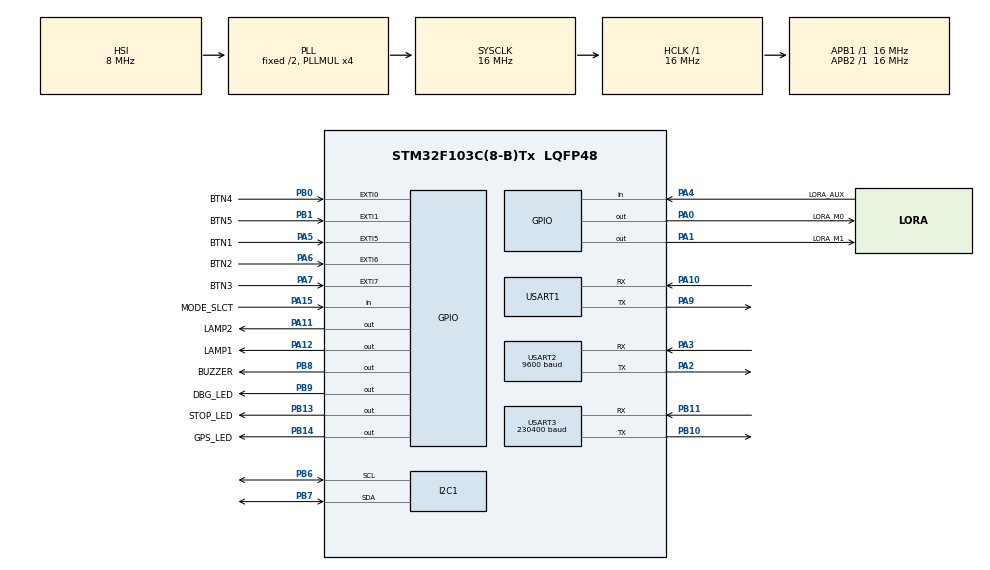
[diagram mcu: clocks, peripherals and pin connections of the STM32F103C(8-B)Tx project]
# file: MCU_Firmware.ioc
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Dma.Request0=USART3_RX
Dma.Request1=USART1_RX
Dma.USART1_RX.1.Direction=DMA_PERIPH_TO_MEMORY
Dma.USART1_RX.1.Instance=DMA1_Channel5
Dma.USART1_RX.1.MemDataAlignment=DMA_MDATAALIGN_BYTE
Dma.USART1_RX.1.MemInc=DMA_MINC_ENABLE
Dma.USART1_RX.1.Mode=DMA_CIRCULAR
Dma.USART1_RX.1.PeriphDataAlignment=DMA_PDATAALIGN_BYTE
Dma.USART1_RX.1.PeriphInc=DMA_PINC_DISABLE
Dma.USART1_RX.1.Priority=DMA_PRIORITY_LOW
Dma.USART3_RX.0.Direction=DMA_PERIPH_TO_MEMORY
Dma.USART3_RX.0.Instance=DMA1_Channel3
Dma.USART3_RX.0.MemDataAlignment=DMA_MDATAALIGN_BYTE
Dma.USART3_RX.0.MemInc=DMA_MINC_ENABLE
Dma.USART3_RX.0.Mode=DMA_CIRCULAR
Dma.USART3_RX.0.PeriphDataAlignment=DMA_PDATAALIGN_BYTE
Dma.USART3_RX.0.PeriphInc=DMA_PINC_DISABLE
Dma.USART3_RX.0.Priority=DMA_PRIORITY_LOW
Mcu.Family=STM32F1
Mcu.Name=STM32F103C(8-B)Tx
Mcu.Package=LQFP48
NVIC.DMA1_Channel3_IRQn=true\:0\:0\:false\:false\:true\:false\:true\:true
NVIC.DMA1_Channel5_IRQn=true\:0\:0\:false\:false\:true\:false\:true\:true
NVIC.EXTI0_IRQn=true\:0\:0\:false\:false\:true\:true\:true\:true
NVIC.EXTI1_IRQn=true\:0\:0\:false\:false\:true\:true\:true\:true
NVIC.EXTI9_5_IRQn=true\:0\:0\:false\:false\:true\:true\:true\:true
NVIC.PriorityGroup=NVIC_PRIORITYGROUP_4
NVIC.USART1_IRQn=true\:0\:0\:false\:false\:true\:true\:true\:true
NVIC.USART2_IRQn=true\:0\:0\:false\:false\:true\:true\:true\:true
NVIC.USART3_IRQn=true\:0\:0\:false\:false\:true\:true\:true\:true
PA0-WKUP.GPIO_Label=LORA_M0
PA0-WKUP.Signal=GPIO_Output
PA1.GPIO_Label=LORA_M1
PA1.Signal=GPIO_Output
PA10.Mode=Asynchronous
PA10.Signal=USART1_RX
PA11.GPIO_Label=LAMP2
PA11.Signal=GPIO_Output
PA12.GPIO_Label=LAMP1
PA12.Signal=GPIO_Output
PA13.Mode=Serial_Wire
PA13.Signal=SYS_JTMS-SWDIO
PA14.Mode=Serial_Wire
PA14.Signal=SYS_JTCK-SWCLK
PA15.GPIO_Label=MODE_SLCT
PA15.GPIO_PuPd=GPIO_PULLUP
PA15.Signal=GPIO_Input
PA2.Mode=Asynchronous
PA2.Signal=USART2_TX
PA3.Mode=Asynchronous
PA3.Signal=USART2_RX
PA4.GPIO_Label=LORA_AUX
PA4.Signal=GPIO_Input
PA5.GPIO_Label=BTN1
PA5.GPIO_ModeDefaultEXTI=GPIO_MODE_IT_RISING_FALLING
PA5.Signal=GPXTI5
PA6.GPIO_Label=BTN2
PA6.GPIO_ModeDefaultEXTI=GPIO_MODE_IT_RISING_FALLING
PA6.Signal=GPXTI6
PA7.GPIO_Label=BTN3
PA7.GPIO_ModeDefaultEXTI=GPIO_MODE_IT_RISING_FALLING
PA7.Signal=GPXTI7
PA9.Mode=Asynchronous
PA9.Signal=USART1_TX
PB0.GPIO_Label=BTN4
PB0.GPIO_ModeDefaultEXTI=GPIO_MODE_IT_RISING_FALLING
PB0.Signal=GPXTI0
PB1.GPIO_Label=BTN5
PB1.GPIO_ModeDefaultEXTI=GPIO_MODE_IT_RISING_FALLING
PB1.Signal=GPXTI1
PB10.Mode=Asynchronous
PB10.Signal=USART3_TX
PB11.Mode=Asynchronous
PB11.Signal=USART3_RX
PB13.GPIO_Label=STOP_LED
PB13.Signal=GPIO_Output
PB14.GPIO_Label=GPS_LED
PB14.Signal=GPIO_Output
PB6.Mode=I2C
PB6.Signal=I2C1_SCL
PB7.Mode=I2C
PB7.Signal=I2C1_SDA
PB8.GPIO_Label=BUZZER
PB8.Signal=GPIO_Output
PB9.GPIO_Label=DBG_LED
PB9.Signal=GPIO_Output
ProjectManager.HeapSize=0x200
ProjectManager.StackSize=0x400
ProjectManager.TargetToolchain=STM32CubeIDE
RCC.AHBFreq_Value=16000000
RCC.APB1Freq_Value=16000000
RCC.APB1TimFreq_Value=16000000
RCC.APB2Freq_Value=16000000
RCC.APB2TimFreq_Value=16000000
RCC.HCLKFreq_Value=16000000
RCC.PLLMUL=RCC_PLL_MUL4
RCC.SYSCLKFreq_VALUE=16000000
RCC.SYSCLKSource=RCC_SYSCLKSOURCE_PLLCLK
RCC.USBFreq_Value=16000000
USART1.VirtualMode=VM_ASYNC
USART2.BaudRate=9600
USART2.VirtualMode=VM_ASYNC
USART3.BaudRate=230400
USART3.VirtualMode=VM_ASYNC
board=custom

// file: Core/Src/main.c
/* USER CODE BEGIN Header */
/**
 ******************************************************************************
 * @file           : main.c
 * @brief          : Main program body
 ******************************************************************************
 * @attention
 *
 * Copyright (c) 2024 STMicroelectronics.
 * All rights reserved.
 *
 * This software is licensed under terms that can be found in the LICENSE file
 * in the root directory of this software component.
 * If no LICENSE file comes with this software, it is provided AS-IS.
 *
 ******************************************************************************
 */
/* USER CODE END Header */
#include "main.h"

/* USER CODE BEGIN Includes */
#include <stdio.h>
#include <string.h>
#include <stdlib.h>
#include <math.h>
#include "nmea_parse.h"
/* USER CODE END Includes */

/* USER CODE BEGIN PD */
#define DEFAULT_RF_FREQUENCY 920900000
#define EEPROM_BASE_ADDRESS 0x08080000
#define LCD_CGRAM_BASE_ADDR	0x40
#define CMD_LCD_ON_CURSOR 0x0E
#define CMD_LCD_ON 0x0C
#define CMD_LCD_CLEAR 0x01
#define CMD_LCD_CURSOR_LINE_1 0x80
#define CMD_LCD_CURSOR_LINE_2 0xC0
#define CMD_LCD_CURSOR_LEFT 0x10
#define CMD_LCD_CURSOR_RIGHT 0x14
#define LCD_ADDR (0x27 << 1)
#define LCD_PIN_RS    (1 << 0)
#define LCD_PIN_EN    (1 << 2)
#define LCD_BACKLIGHT (1 << 3)
#define LCD_DELAY_MS 5
/* USER CODE END PD */

I2C_HandleTypeDef hi2c1;

UART_HandleTypeDef huart1;
UART_HandleTypeDef huart2;
UART_HandleTypeDef huart3;
DMA_HandleTypeDef hdma_usart1_rx;
DMA_HandleTypeDef hdma_usart3_rx;

/* USER CODE BEGIN PV */
struct DataFlash {
	char busTP;
	char busNM[5];
	char busRouteno[6];
	char busStopID[8];
	char lati[16];
	char longi[16];
	uint8_t isPeople;
} data[150] = { 0 };

int nowIdx = 0;

uint8_t GPSLEDFlag = 0;

uint8_t NowBusStopFlag = 0;

uint8_t upDownFlag = 0;

/* USER CODE BEGIN PV */
#define RxBuffer_SIZE 512  //configure uart receive buffer size
#define DataBuffer_SIZE 512 //gather a few rxBuffer frames before parsing

// Functions for UART receiving, based on the DMA receive function, implementations may vary
uint16_t oldPos = 0;
uint16_t newPos = 0;
uint8_t RxBuffer[RxBuffer_SIZE];
uint8_t DataBuffer[DataBuffer_SIZE];

//create a GPS data structure
GPS myData;

uint16_t GPSRange = 0;
/* USER CODE END PV */

void SystemClock_Config(void);
static void MX_GPIO_Init(void);
static void MX_DMA_Init(void);
static void MX_I2C1_Init(void);
static void MX_USART1_UART_Init(void);
static void MX_USART2_UART_Init(void);
static void MX_USART3_UART_Init(void);

/* USER CODE BEGIN 0 */

void HAL_UARTEx_RxEventCallback(UART_HandleTypeDef *huart, uint16_t Size) {
	oldPos = newPos; //keep track of the last position in the buffer
	if (oldPos + Size > DataBuffer_SIZE) { //if the buffer is full, parse it, then reset the buffer

		uint16_t datatocopy = DataBuffer_SIZE - oldPos; // find out how much space is left in the main buffer
		memcpy((uint8_t*) DataBuffer + oldPos, RxBuffer, datatocopy); // copy data in that remaining space

		oldPos = 0;  // point to the start of the buffer
		memcpy((uint8_t*) DataBuffer, (uint8_t*) RxBuffer + datatocopy,
				(Size - datatocopy));  // copy the remaining data
		newPos = (Size - datatocopy);  // update the position
	} else {
		memcpy((uint8_t*) DataBuffer + oldPos, RxBuffer, Size); //copy received data to the buffer
		newPos = Size + oldPos; //update buffer position

	}
	HAL_UARTEx_ReceiveToIdle_DMA(&huart3, (uint8_t*) RxBuffer, RxBuffer_SIZE); //re-enable the DMA interrupt
	__HAL_DMA_DISABLE_IT(&hdma_usart3_rx, DMA_IT_HT); //disable the half transfer interrupt
}

//LCD ============================================
HAL_StatusTypeDef LCD_SendInternal(uint8_t lcd_addr, uint8_t data,
		uint8_t flags) {
	HAL_StatusTypeDef res;
	for (;;) {
		res = HAL_I2C_IsDeviceReady(&hi2c1, lcd_addr, 1, HAL_MAX_DELAY);
		if (res == HAL_OK)
			break;
	}

	uint8_t up = data & 0xF0;
	uint8_t lo = (data << 4) & 0xF0;

	uint8_t data_arr[4];
	data_arr[0] = up | flags | LCD_BACKLIGHT | LCD_PIN_EN;
	data_arr[1] = up | flags | LCD_BACKLIGHT;
	data_arr[2] = lo | flags | LCD_BACKLIGHT | LCD_PIN_EN;
	data_arr[3] = lo | flags | LCD_BACKLIGHT;

	res = HAL_I2C_Master_Transmit(&hi2c1, lcd_addr, data_arr, sizeof(data_arr),
	HAL_MAX_DELAY);
	HAL_Delay(LCD_DELAY_MS);
	return res;
}

void LCD_SendCommand(uint8_t lcd_addr, uint8_t cmd) {
	LCD_SendInternal(lcd_addr, cmd, 0);
}

void LCD_SendData(uint8_t lcd_addr, uint8_t data) {
	LCD_SendInternal(lcd_addr, data, LCD_PIN_RS);
}

void LCD_Init(uint8_t lcd_addr) {
	// 4-bit mode, 2 lines, 5x7 format
	LCD_SendCommand(lcd_addr, 0x30);
	// display & cursor home (keep this!)
	LCD_SendCommand(lcd_addr, 0x02);
	// display on, right shift, underline off, blink off
	LCD_SendCommand(lcd_addr, CMD_LCD_ON);
	// clear display (optional here)
	LCD_SendCommand(lcd_addr, CMD_LCD_CLEAR);
}

void LCD_SendString(uint8_t lcd_addr, char *str) {
	while (*str) {
		LCD_SendData(lcd_addr, (uint8_t) (*str));
		str++;
	}
}

void LCD_SET_CGRAM(uint8_t lcd_addr, uint8_t addr, uint8_t *data) {
	uint8_t start_addr = LCD_CGRAM_BASE_ADDR | (addr << 3);
	LCD_SendCommand(lcd_addr, start_addr);
	for (int i = 0; i < 8; i++) {
		LCD_SendData(lcd_addr, data[i]);
	}
}

void LCD_Write_Info(struct DataFlash nowData, struct DataFlash nextData) {
	LCD_SendCommand(LCD_ADDR, CMD_LCD_CLEAR); //Clear
	LCD_SendCommand(LCD_ADDR, CMD_LCD_CURSOR_LINE_1);
	LCD_SendString(LCD_ADDR, nowData.busRouteno);
	LCD_SendData(LCD_ADDR, 0);
	for (int i = 0; i < 10; i++) {
		LCD_SendCommand(LCD_ADDR, CMD_LCD_CURSOR_RIGHT);
	}
	//printf("flag = %d\r\n", upDownFlag);
	if (!upDownFlag)
		LCD_SendData(LCD_ADDR, 1);
	else
		LCD_SendData(LCD_ADDR, 2);
	LCD_SendCommand(LCD_ADDR, CMD_LCD_CURSOR_LINE_2);
	LCD_SendData(LCD_ADDR, 3);
	LCD_SendString(LCD_ADDR, nowData.busStopID);
	LCD_SendData(LCD_ADDR, 3);
	LCD_SendData(LCD_ADDR, 3);
	LCD_SendData(LCD_ADDR, 3);
	LCD_SendString(LCD_ADDR, nextData.busStopID);
	for (int i = 0; i < 1; i++) {
		LCD_SendCommand(LCD_ADDR, CMD_LCD_CURSOR_RIGHT);
	}
	if (!upDownFlag)
		LCD_SendData(LCD_ADDR, 1);
	else
		LCD_SendData(LCD_ADDR, 2);
}

void updateLCD() {
	LCD_Write_Info(data[nowIdx], data[nowIdx + 1]);
}

void notGPSLCD() {
	LCD_SendCommand(LCD_ADDR, CMD_LCD_CLEAR); //Clear
	LCD_SendCommand(LCD_ADDR, CMD_LCD_CURSOR_LINE_1);
	LCD_SendString(LCD_ADDR, data[0].busRouteno);
	LCD_SendData(LCD_ADDR, 0);
	for (int i = 0; i < 11; i++) {
		LCD_SendCommand(LCD_ADDR, CMD_LCD_CURSOR_RIGHT);
	}
	LCD_SendData(LCD_ADDR, 1);
	LCD_SendCommand(LCD_ADDR, CMD_LCD_CURSOR_LINE_2);
	LCD_SendData(LCD_ADDR, 3);
	LCD_SendString(LCD_ADDR, "-----");
	LCD_SendData(LCD_ADDR, 3);
	LCD_SendData(LCD_ADDR, 3);
	LCD_SendData(LCD_ADDR, 3);
	LCD_SendString(LCD_ADDR, "-----");
	for (int i = 0; i < 1; i++) {
		LCD_SendCommand(LCD_ADDR, CMD_LCD_CURSOR_RIGHT);
	}
	LCD_SendData(LCD_ADDR, 1);
}

void LCD_Write_Arrive(struct DataFlash nowData) {
	LCD_SendCommand(LCD_ADDR, CMD_LCD_CLEAR); //Clear
	LCD_SendCommand(LCD_ADDR, CMD_LCD_CURSOR_LINE_1);
	LCD_SendString(LCD_ADDR, nowData.busRouteno);
	LCD_SendData(LCD_ADDR, 0);
	for (int i = 0; i < 11; i++) {
		LCD_SendCommand(LCD_ADDR, CMD_LCD_CURSOR_RIGHT);
	}
	LCD_SendData(LCD_ADDR, 1);
	LCD_SendCommand(LCD_ADDR, CMD_LCD_CURSOR_LINE_2);
	LCD_SendData(LCD_ADDR, 3);
	LCD_SendData(LCD_ADDR, 3);
	LCD_SendData(LCD_ADDR, 3);
	LCD_SendString(LCD_ADDR, nowData.busStopID);
	LCD_SendData(LCD_ADDR, 4);
	LCD_SendData(LCD_ADDR, 4);
	LCD_SendData(LCD_ADDR, 4);
	for (int i = 0; i < 4; i++) {
		LCD_SendCommand(LCD_ADDR, CMD_LCD_CURSOR_RIGHT);
	}
	LCD_SendData(LCD_ADDR, 1);
}

//Flash===========================================================

int dataIdx = 0;

void Flash_Unlock(void) {
	FLASH->KEYR = 0x45670123;  // Key1
	FLASH->KEYR = 0xCDEF89AB;  // Key2
}

void Flash_Lock(void) {
	FLASH->CR |= FLASH_CR_LOCK;
}

void Flash_Write(uint32_t address, uint8_t data) {
	while (FLASH->SR & FLASH_SR_BSY)
		;  // Busy flag 체크

	FLASH->CR |= FLASH_CR_PG;  // Programming mode

	*(__IO uint16_t*) address = data;  // data 기록

	while (FLASH->SR & FLASH_SR_BSY)
		;  // Busy flag 체크

	FLASH->CR &= ~FLASH_CR_PG;  // Programming mode
}

void Flash_Write_StrInt(uint32_t address, uint8_t *StrData) {
	Flash_Unlock();  // flash ?��?�� �??��
	uint16_t value = (uint16_t) strtol((const char*) StrData, NULL, 10);
	Flash_Write(address, value);  // value �? address?�� ?���?
	Flash_Lock();  // flash ?��?�� ?��?��
}

uint32_t Flash_Write_Char(uint32_t address, uint8_t CharData) {
	Flash_Unlock();
	Flash_Write(address, CharData);
	Flash_Lock();
	return address + 0x02;
}

uint32_t Flash_Write_Str(uint32_t address, uint8_t *StrData) {
	for (int i = 0; i < strlen((char*) StrData); i++) {
		address = Flash_Write_Char(address, StrData[i]);
	}
	//printf("%x\r\n", address);
	return address;
}

uint32_t Flash_Write_Data(uint32_t address, uint8_t *StrData) {
	char *token;

	token = strtok(StrData, ",");
	if (token[0] == 'D') {
		token = strtok(NULL, ",");
		if (token != NULL) {
			data[dataIdx].busTP = token[0];
			address = Flash_Write_Char(address, data[dataIdx].busTP);
			address = Flash_Write_Char(address, ',');
		}

		token = strtok(NULL, ",");
		if (token != NULL) {
			strncpy(data[dataIdx].busNM, token,
					sizeof(data[dataIdx].busNM) - 1);
			data[dataIdx].busNM[sizeof(data[dataIdx].busNM) - 1] = '\0';
			address = Flash_Write_Str(address, data[dataIdx].busNM);
			address = Flash_Write_Char(address, ',');
		}

		token = strtok(NULL, ",");
		if (token != NULL) {
			strncpy(data[dataIdx].busRouteno, token,
					sizeof(data[dataIdx].busRouteno) - 1);
			data[dataIdx].busRouteno[sizeof(data[dataIdx].busRouteno) - 1] =
					'\0';
			address = Flash_Write_Str(address, data[dataIdx].busRouteno);
			address = Flash_Write_Char(address, ',');
		}

		token = strtok(NULL, ",");
		if (token != NULL) {
			strncpy(data[dataIdx].busStopID, token,
					sizeof(data[dataIdx].busStopID) - 1);
			data[dataIdx].busStopID[sizeof(data[dataIdx].busStopID) - 1] = '\0';
			address = Flash_Write_Str(address, data[dataIdx].busStopID);
			address = Flash_Write_Char(address, ',');
		}
	} else {
		token = strtok(NULL, ",");
		if (token != NULL) {
			strncpy(data[dataIdx].lati, token, sizeof(data[dataIdx].lati) - 1);
			data[dataIdx].lati[sizeof(data[dataIdx].lati) - 1] = '\0';
			address = Flash_Write_Str(address, data[dataIdx].lati);
			address = Flash_Write_Char(address, ',');
		}

		token = strtok(NULL, ",");
		if (token != NULL) {
			strncpy(data[dataIdx].longi, token,
					sizeof(data[dataIdx].longi) - 1);
			data[dataIdx].longi[sizeof(data[dataIdx].longi) - 1] = '\0';
			address = Flash_Write_Str(address, data[dataIdx].longi);
			address = Flash_Write_Char(address, '!');
		}
		dataIdx += 1;
		if (dataIdx == 2) {
//			LCD_SendCommand(LCD_ADDR, CMD_LCD_CLEAR); //Clear
//			LCD_SendCommand(LCD_ADDR, CMD_LCD_CURSOR_LINE_1);
//			LCD_SendString(LCD_ADDR, "DATA DOWNLOAD");
//			LCD_SendCommand(LCD_ADDR, CMD_LCD_CURSOR_LINE_2);
//			LCD_SendString(LCD_ADDR, "SUCCESS");
		}
	}
//	printf("busNM:%s, busRouteNo:%s, BusStopID:%s, lati:%s, longi:%s\r\n",
//			data.busNM, data.busRouteno, data.busStopID, data.lati, data.longi);
	return address;
}

uint16_t Flash_Read(uint32_t address) {
	return *(__IO uint16_t*) address; // address data return
}

void Flash_Erase_Page(uint32_t address) {
	Flash_Unlock();  // flash ?��?�� �??��

	FLASH->CR |= FLASH_CR_PER;   // Page Erase bit set
	FLASH->AR = address;         // Page Erase address
	FLASH->CR |= FLASH_CR_STRT;

	while (FLASH->SR & FLASH_SR_BSY)
		;  // page Erase end

	FLASH->CR &= ~FLASH_CR_PER;  // Page Erase bit reset

	Flash_Lock();  // flash ?��?�� ?��?��
}

void splitData(char *strData) {
	char *token;

	token = strtok(strData, ","); // TP
	data[dataIdx].busTP = token[0];

	token = strtok(NULL, ","); // CarNM
	strncpy(data[dataIdx].busNM, token, sizeof(data[dataIdx].busNM) - 1);

	token = strtok(NULL, ","); // RouteNo
	strncpy(data[dataIdx].busRouteno, token,
			sizeof(data[dataIdx].busRouteno) - 1);

	token = strtok(NULL, ","); // StopID
	strncpy(data[dataIdx].busStopID, token,
			5);

	token = strtok(NULL, ","); // lati
	strncpy(data[dataIdx].lati, token, sizeof(data[dataIdx].lati) - 1);

	token = strtok(NULL, "!"); // longi
	strncpy(data[dataIdx].longi, token, sizeof(data[dataIdx].longi) - 1);
}

uint32_t CallData(uint32_t address) {
	char a[70] = { 0, };
	int i = 0;
	while (1) {
		a[i] = (char) Flash_Read(address);
		address += 0x02;
		if (a[i] == 0xFF) {
			return address;
		}
		if (a[i] == '!') {
			splitData(a);
			dataIdx += 1;
			i = -1;
			memset(a, 0, 60);
		}
		i += 1;
	}
}

void Flash_Clear() {
	Flash_Erase_Page(0x0800CC00);
	Flash_Erase_Page(0x0800D000);
	Flash_Erase_Page(0x0800D400);
	Flash_Erase_Page(0x0800D800);
	Flash_Erase_Page(0x0800DC00);
	Flash_Erase_Page(0x0800E000);
	Flash_Erase_Page(0x0800E400);
	Flash_Erase_Page(0x0800E800);
	Flash_Erase_Page(0x0800EC00);
	Flash_Erase_Page(0x0800F000);
	Flash_Erase_Page(0x0800F400);
	Flash_Erase_Page(0x0800F800);
	Flash_Erase_Page(0x0800FC00);

}

// GPS=======================================================
char latitude[16];
char longitude[16];

double convertToDecimalDegrees(const char *coordinate, char type) {
	int degrees;
	double minutes;
	double decimalDegrees;

	if (type == 'L') { // Latitude
		degrees = (coordinate[0] - '0') * 10 + (coordinate[1] - '0'); // dd
		minutes = atof(coordinate + 2); // mm.mmmm
	} else if (type == 'G') { // Longitude
		degrees = (coordinate[0] - '0') * 100 + (coordinate[1] - '0') * 10
				+ (coordinate[2] - '0'); // ddd
		minutes = atof(coordinate + 3); // mm.mmmm
	} else {
		printf("Invalid type\n");
		return -1;
	}
	decimalDegrees = degrees + (minutes / 60.0);

	return decimalDegrees;
}

void parseGPSData(uint8_t *buffer, uint16_t size) {
	char *nmeaGGA = NULL;
	double la, lo;
	//xprintf("%s", (char*)buffer);
	nmeaGGA = strstr((char*) buffer, "GLL");
	if (nmeaGGA != NULL) {
		char *token;

		token = strtok(nmeaGGA, ",");

		token = strtok(NULL, ","); //latitude
		if (token != NULL) {
			strncpy(latitude, token, sizeof(latitude) - 1);
			latitude[sizeof(latitude) - 1] = '\0';
			la = convertToDecimalDegrees(latitude, 'L');
		}

		token = strtok(NULL, ",");

		token = strtok(NULL, ","); //longitude
		if (token != NULL) {
			strncpy(longitude, token, sizeof(longitude) - 1);
			longitude[sizeof(longitude) - 1] = '\0';
			lo = convertToDecimalDegrees(longitude, 'G');
		}

		token = strtok(NULL, ",");

		printf("\r\nLatitude: %.6f, Longitude: %.6f\r\n", la, lo);
		if (la >= 200 || lo >= 200) {
			GPSLEDFlag = 0;
		} else {
			GPSLEDFlag = 1;
		}
		CheckGPS(la, lo);
	}
}

int checkGPSCnt = 0;

void CheckGPS(double nowLati, double nowLongi) {
	double busStopLati = atof(data[nowIdx].lati);
	double busStopLongi = atof(data[nowIdx].longi);
	//printf("La : %f, La1 : %f\r\n", busStopLati - 0.00009, busStopLati + 0.00009);
	//printf("NowLa : %f, NowLo : %f\r\n", nowLati, nowLongi);
	//printf("First : %d\r\n", nowLati >= (busStopLati - 0.00009)
	//		&& nowLati <= (busStopLati + 0.00009));
	if (nowLati >= (busStopLati - (0.000009 * GPSRange))
			&& nowLati <= (busStopLati + (0.000009 * GPSRange))) {
		if (nowLongi >= (busStopLongi - (0.000011 * GPSRange))
				&& nowLongi <= (busStopLongi + (0.000011 * GPSRange))) {
			checkGPSCnt++;
			//printf("Check!!!!!!!!\r\b");
		}
	}
}
double nowSum = 999;
int idxMin = -1;
void NowBusStop(double nowLati, double nowLongi) {
	double busStopLati = 0;
	double busStopLongi = 0;
	for (int i = 0; i < 150; i++) {
		busStopLati = atof(data[i].lati);
		busStopLongi = atof(data[i].longi);
		if (nowLati >= (busStopLati - (0.000009 * GPSRange))
				&& nowLati <= (busStopLati + (0.000009 * GPSRange))) {
			if (nowLongi >= (busStopLongi - (0.000011 * GPSRange))
					&& nowLongi <= (busStopLongi + (0.000011 * GPSRange))) {
				printf("\r\n%d!!!!!!!!\r\n\r\n", i);
				if (nowSum
						> fabs(nowLati - busStopLati)
								+ fabs(nowLongi - busStopLongi)) {
					nowSum = fabs(nowLati - busStopLati)
							+ fabs(nowLongi - busStopLongi);
					idxMin = i;
				}

				break;
			}
		}
	}
	if (idxMin != -1) {
		nowIdx = idxMin;
		NowBusStopFlag = 1;
	}
}
//==============================================================================
//LoRa
#define LoRa_RX_BUFFER_SIZE 64

uint8_t LoRaRxBuffer[LoRa_RX_BUFFER_SIZE];
volatile uint8_t LoRaRxEnd = 0;
uint8_t LoRaRxData[11];
uint8_t LoRaLen = 0;

void SetMode(uint8_t mode) {
	switch (mode) {
	case 0:
		HAL_GPIO_WritePin(GPIOA, LORA_M0_Pin, GPIO_PIN_RESET);
		HAL_GPIO_WritePin(GPIOA, LORA_M1_Pin, GPIO_PIN_RESET);
		break;
	case 1:
		HAL_GPIO_WritePin(GPIOA, LORA_M0_Pin, GPIO_PIN_SET);
		HAL_GPIO_WritePin(GPIOA, LORA_M1_Pin, GPIO_PIN_RESET);
		break;
	case 2:
		HAL_GPIO_WritePin(GPIOA, LORA_M0_Pin, GPIO_PIN_RESET);
		HAL_GPIO_WritePin(GPIOA, LORA_M1_Pin, GPIO_PIN_SET);
		break;
	case 3:
		HAL_GPIO_WritePin(GPIOA, LORA_M0_Pin, GPIO_PIN_SET);
		HAL_GPIO_WritePin(GPIOA, LORA_M1_Pin, GPIO_PIN_SET);
		break;
	}
}

void LoRa_SendData(uint8_t *data, uint16_t length) {
	// AUX
	while (HAL_GPIO_ReadPin(LORA_AUX_GPIO_Port, LORA_AUX_Pin) == GPIO_PIN_RESET)
		;

	HAL_UART_Transmit(&huart2, data, length, HAL_MAX_DELAY);
}

int help = 0;
int routeNo = 0;
int busNM = 0;
int arsID = 0;

int loraFlag = 0;

void parseLora(uint8_t *loraData) {

	if (loraData[1] == '0') {
		char *token;

		token = strtok(loraData, "@");
		arsID = atoi(token);
		printf("\r\narsID : %d!!!!!!\r\n\r\n", arsID);

		for (int i = 0; i < 150; i++) {
			if (atoi(data[i].busRouteno) != routeNo) {
				printf("\r\nNOT ROUTENO, %d\r\n\r\n",i);
				break;
			}
			if (atoi(data[i].busNM) != busNM) {
				printf("\r\nNOT busNM\r\n\r\n");
				break;
			}
			if (atoi(data[i].busStopID) == arsID) {
				data[i].isPeople = help;
				printf("\r\n%d\r\n\r\n", i);
				if(i == nowIdx){
					loraFlag = 1;
				}
				else if(i == nowIdx+1){
					loraFlag = 2;
				}
//				HAL_GPIO_WritePin(GPIOB, GPIO_PIN_8, 1); //BUZZER
//				HAL_Delay(100);
//				HAL_GPIO_WritePin(GPIOB, GPIO_PIN_8, 0); //BUZZER
				break;
			}
		}
	} else {
		help = loraData[0] - '0';
		routeNo = (loraData[2] - '0') * 100 + (loraData[3] - '0') * 10
				+ (loraData[4] - '0');
		if(routeNo == 220){
			routeNo = 2002;
		}
		busNM = (loraData[6] - '0') * 1000 + (loraData[7] - '0') * 100
				+ (loraData[8] - '0') * 10 + (loraData[9] - '0');
		printf("\r\nhelp : %d, routeNo : %d, busNM : %d\r\n\r\n", help, routeNo,
				busNM);
	}

}

//LCD=======================================================================
uint8_t BNumber[8] = { 0x15, 0x1d, 0x17, 0x1d, 0x1, 0x10, 0x1f };
uint8_t BUp[8] = { 0x4, 0xe, 0x1f, 0x0, 0x4, 0xe, 0x1f };
uint8_t BDown[8] = { 0x1f, 0xe, 0x4, 0x0, 0x1f, 0xe, 0x4 };
uint8_t BRight[8] = { 0x10, 0x18, 0x1c, 0x1e, 0x1c, 0x18, 0x10 };
uint8_t BLeft[8] = { 0x01, 0x03, 0x07, 0x0f, 0x07, 0x03, 0x01 };

//UART=======================================================================
unsigned char UART_Print_Port = 0; //0 = USB, 1 = LoRa, 2 = GPS
uint8_t UART1_Rx_Data[1];

uint8_t flagUart3 = 0;

uint8_t UART1_Rx_Buffer[50];
uint8_t UART1_Len = 0;

unsigned char UART1_Rx_End = 0;

#define RX3_BUFFER_SIZE 256
uint8_t rxBuffer[RX3_BUFFER_SIZE];
uint8_t nmeaBuffer[RX3_BUFFER_SIZE];
uint8_t dataReceived = 0;

uint8_t modeFlag = 0;
uint8_t pushingFlag = 0;

int _write(int file, unsigned char *p, int len) {
	if (UART_Print_Port == 0) {
		HAL_UART_Transmit(&huart1, p, len, 10);
	} else if (UART_Print_Port == 1) {
		HAL_UART_Transmit(&huart2, p, len, 10);
	} else if (UART_Print_Port == 2) {
		HAL_UART_Transmit(&huart3, p, len, 10);
	}
	return len;
}
#ifdef __GNUC__
#define PUTCHAR_PROTOTYPE int __io_putchar(int ch)
#else
#define PUTCHAR_PROTOTYPE int fputc(int ch, FILE *f)
#endif
PUTCHAR_PROTOTYPE {
	if (UART_Print_Port == 0) {
		HAL_UART_Transmit(&huart1, (uint8_t*) &ch, 1, 0xFFFF);
	} else if (UART_Print_Port == 1) {
		HAL_UART_Transmit(&huart2, (uint8_t*) &ch, 1, 0xFFFF);
	} else if (UART_Print_Port == 2) {
		HAL_UART_Transmit(&huart3, (uint8_t*) &ch, 1, 0xFFFF);
	}
	return ch;
}

//Tick=================================================================
uint32_t GPSTick = 0;
uint32_t LoRaTick = 0;
uint32_t GPSFIXTick = 0;
uint32_t ArriveTick = 0;
uint32_t BtnTick = 0;

int asd = 2;

int helpBuzzer = 100;

uint8_t LoRaModeFlag = 0;

/* USER CODE END 0 */

int main(void)
{

  /* MCU Configuration--------------------------------------------------------*/

  /* Reset of all peripherals, Initializes the Flash interface and the Systick. */
  HAL_Init();

  /* USER CODE BEGIN Init */
	HAL_Delay(1000);
  /* USER CODE END Init */

  /* Configure the system clock */
  SystemClock_Config();

  /* Initialize all configured peripherals */
  MX_GPIO_Init();
  MX_DMA_Init();
  MX_I2C1_Init();
  MX_USART1_UART_Init();
  MX_USART2_UART_Init();
  MX_USART3_UART_Init();
  /* USER CODE BEGIN 2 */
	HAL_UART_Receive_DMA(&huart1, UART1_Rx_Buffer, 20);
	HAL_UART_Receive_IT(&huart2, LoRaRxData, 10);
	HAL_UART_Receive_DMA(&huart3, DataBuffer, RxBuffer_SIZE);
	setvbuf(stdout, NULL, _IONBF, 0);
	//	printf("HELL WORLD\r\n");
	LCD_Init(LCD_ADDR);
	LCD_SET_CGRAM(LCD_ADDR, 0x00, BNumber);
	LCD_SET_CGRAM(LCD_ADDR, 0x01, BUp);
	LCD_SET_CGRAM(LCD_ADDR, 0x02, BDown);
	LCD_SET_CGRAM(LCD_ADDR, 0x03, BRight);
	LCD_SET_CGRAM(LCD_ADDR, 0x04, BLeft);
//	LCD_SendCommand(LCD_ADDR, CMD_LCD_CLEAR); //Clear
//	LCD_SendCommand(LCD_ADDR, CMD_LCD_CURSOR_LINE_1);
//	LCD_SendString(LCD_ADDR, "604");
//	LCD_SendData(LCD_ADDR, 0);
//	for (int i = 0; i < 11; i++) {
//		LCD_SendCommand(LCD_ADDR, CMD_LCD_CURSOR_RIGHT);
//	}
//	LCD_SendData(LCD_ADDR, 1);
//	LCD_SendCommand(LCD_ADDR, CMD_LCD_CURSOR_LINE_2);
//	LCD_SendData(LCD_ADDR, 3);
//	LCD_SendString(LCD_ADDR, "43420");
//	LCD_SendData(LCD_ADDR, 3);
//	LCD_SendData(LCD_ADDR, 3);
//	LCD_SendData(LCD_ADDR, 3);
//	LCD_SendString(LCD_ADDR, "43080");
//	for (int i = 0; i < 1; i++) {
//		LCD_SendCommand(LCD_ADDR, CMD_LCD_CURSOR_RIGHT);
//	}
//	LCD_SendData(LCD_ADDR, 1);

	//flash
	uint32_t GPSRangeFlashAddress = 0x0800C400;
	uint32_t ModeFlashAddress = 0x0800CB00;
	uint32_t DataFlashAddress = 0x0800CC00;
	uint16_t InfoModeFlag = Flash_Read(ModeFlashAddress) & 0x0000FFFF;
	GPSRange = Flash_Read(GPSRangeFlashAddress) & 0x0000FFFF;
	printf("Range : %d!!!!!!!!!!!!!!!!\r\n", GPSRange);

	printf("ModeFlag:%d", InfoModeFlag);
	if (InfoModeFlag >= 1) {
		DataFlashAddress = CallData(DataFlashAddress);
//		printf("\r\nbusStopID = %s\r\n\r\n", data[51].busRouteno);
//		strncpy(data[0].busStopID, "33333", sizeof(data[0].busStopID) - 1);
//		strncpy(data[0].lati, "36.391251", sizeof(data[0].lati) - 1);
//		strncpy(data[0].longi, "127.363235", sizeof(data[0].longi) - 1);
//
//		strncpy(data[1].busStopID, "44444", sizeof(data[1].busStopID) - 1);
//		strncpy(data[1].lati, "36.391567112", sizeof(data[1].lati) - 1);
//		strncpy(data[1].longi, "127.362770", sizeof(data[1].longi) - 1);

		//LCD_Write_Info(data[nowIdx], data[nowIdx + 1]);
	} else if (InfoModeFlag == 0) {
		LCD_SendCommand(LCD_ADDR, CMD_LCD_CLEAR); //Clear
		LCD_SendCommand(LCD_ADDR, CMD_LCD_CURSOR_LINE_1);
		LCD_SendString(LCD_ADDR, "DATA DOWNLOAD");
		LCD_SendCommand(LCD_ADDR, CMD_LCD_CURSOR_LINE_2);
		LCD_SendString(LCD_ADDR, "MODE");
	} else {
		InfoModeFlag = 0;
		Flash_Unlock();
		Flash_Write(ModeFlashAddress, 0);
		Flash_Lock();
	}

//	HAL_UARTEx_ReceiveToIdle_DMA(&huart3, (uint8_t*) RxBuffer, RxBuffer_SIZE);
//	__HAL_DMA_DISABLE_IT(&hdma_usart3_rx, DMA_IT_HT);
	int Serialcnt = 0;

	//LoRa ================================================================
	SetMode(0);

	//FW===================================================================
	modeFlag = HAL_GPIO_ReadPin(GPIOA, GPIO_PIN_15);

	GPSTick = HAL_GetTick();
	LoRaTick = HAL_GetTick();
	GPSFIXTick = HAL_GetTick();
	ArriveTick = HAL_GetTick();

	uint8_t IOMode = 0; //0 : In, 1 : Out
	uint8_t ArriveFlag = 0;

	int isPeopleFlag = 0;
	int isData = Flash_Read(DataFlashAddress);
	if(isData < 65536){
		while(strncmp(data[nowIdx++].busStopID, "12400", 5) != 0){
			if (nowIdx >= 200){
				nowIdx = 1;
				break;

			}
		}
		nowIdx--;
	}
	updateLCD();

  /* USER CODE END 2 */

  /* Infinite loop */
  /* USER CODE BEGIN WHILE */
	while (1) {
//
//
//		HAL_GPIO_TogglePin(GPIOB, GPIO_PIN_9); //Debug LED
//		HAL_GPIO_TogglePin(GPIOB, GPIO_PIN_14); //GPS LED

		if (!modeFlag) { //Local Mode
//			if (InfoModeFlag >= 1) {
//				notGPSLCD();
//			}

			while (1) {
				if (UART1_Rx_End) {
					//printf("Echo: %s\r\n", UART1_Rx_Buffer);
					if (!strncmp(UART1_Rx_Buffer, "Input", 5)) {
						dataIdx = 0;
						DataFlashAddress = 0x0800CC00;
						Flash_Erase_Page(ModeFlashAddress);
						Flash_Unlock();
						Flash_Write(ModeFlashAddress, (uint8_t) 0);
						Flash_Lock();
						Flash_Clear();
						InfoModeFlag = 0;
						LCD_SendCommand(LCD_ADDR, CMD_LCD_CLEAR); //Clear
						LCD_SendCommand(LCD_ADDR, CMD_LCD_CURSOR_LINE_1);
						LCD_SendString(LCD_ADDR, "DATA DOWNLOAD");
						LCD_SendCommand(LCD_ADDR, CMD_LCD_CURSOR_LINE_2);
						LCD_SendString(LCD_ADDR, "MODE");
					} else if (!strncmp(UART1_Rx_Buffer, "OutPut", 6)) {
						Flash_Erase_Page(ModeFlashAddress);
						Flash_Unlock();
						Flash_Write(ModeFlashAddress, 1);
						Flash_Lock();
						InfoModeFlag = 1;
						LCD_SendCommand(LCD_ADDR, CMD_LCD_CLEAR); //Clear
						LCD_SendCommand(LCD_ADDR, CMD_LCD_CURSOR_LINE_1);
						LCD_SendString(LCD_ADDR, "DATA DOWNLOAD");
						LCD_SendCommand(LCD_ADDR, CMD_LCD_CURSOR_LINE_2);
						LCD_SendString(LCD_ADDR, "SUCCESS");
					} else if ((!strncmp(UART1_Rx_Buffer, "D", 1)
							|| !strncmp(UART1_Rx_Buffer, "d", 1))
							&& InfoModeFlag == 0) {
						DataFlashAddress = Flash_Write_Data(DataFlashAddress,
								UART1_Rx_Buffer);
						//printf("Data\r\n");
						printf("N\r\n");
					} else if (!strncmp(UART1_Rx_Buffer, "range", 5)) {
						char *token;

						token = strtok(UART1_Rx_Buffer, ",");
						token = strtok(NULL, "!");
						GPSRange = atoi(token);

						Flash_Erase_Page(GPSRangeFlashAddress);
						Flash_Unlock();
						Flash_Write(GPSRangeFlashAddress, (uint8_t) GPSRange);
						Flash_Lock();
					}
					HAL_UART_Transmit(&huart1, UART1_Rx_Buffer, UART1_Len, 2);
					for (int i = 0; i < 50; i++) {
						UART1_Rx_Buffer[i] = '\0';
					}
					UART1_Len = 0;
					UART1_Rx_End = 0;
				}

				if (LoRaRxEnd) {
					printf("LoRa : %s, %d\r\n", LoRaRxData,
							strlen(LoRaRxData));
					parseLora(LoRaRxData);
					LoRa_SendData(LoRaRxData, sizeof(LoRaRxData) - 1);
					for (int i = 0; i < 11; i++) {
						LoRaRxData[i] = '\0';
					}
					LoRaLen = 0;
					LoRaRxEnd = 0;

				}

				if (InfoModeFlag) {
					if(loraFlag == 1){
						loraFlag = 0;
						if(data[nowIdx].isPeople == 2){
							helpBuzzer = 0;
						}
						if(data[nowIdx].isPeople == 1){
							for(int i = 0;i<4;i++){
								HAL_GPIO_TogglePin(GPIOB, GPIO_PIN_8);
								HAL_Delay(50);
							}
						}
						if(data[nowIdx].isPeople > 0 ){
							isPeopleFlag = 1;
						}
						else{
							isPeopleFlag = 0;
							HAL_GPIO_WritePin(GPIOA, GPIO_PIN_11, 0);
						}

					}
					if(loraFlag == 2){
						loraFlag = 0;
						if(data[nowIdx+1].isPeople > 0){
							HAL_GPIO_WritePin(GPIOA, GPIO_PIN_12, 1); //LAMP2
							if(data[nowIdx+1].isPeople == 2){
								helpBuzzer = 0;
							}
							if(data[nowIdx+1].isPeople == 1){
								for(int i = 0;i<4;i++){
									HAL_GPIO_TogglePin(GPIOB, GPIO_PIN_8);
									HAL_Delay(50);
								}
							}
						}
						else{
							HAL_GPIO_WritePin(GPIOA, GPIO_PIN_12, 0); //LAMP2
						}
					}

				if (HAL_GetTick() - ArriveTick >= 300) {
					ArriveTick = HAL_GetTick();
					HAL_GPIO_WritePin(GPIOB, GPIO_PIN_8, 0);
					if(isPeopleFlag){
						HAL_GPIO_TogglePin(GPIOA, GPIO_PIN_11);
					}
					if (helpBuzzer == 0 || helpBuzzer == 2 || helpBuzzer == 4) {

						HAL_GPIO_WritePin(GPIOB, GPIO_PIN_8, 1);
					}
					helpBuzzer++;
				}
//					if (dataReceived) {
//						parseGPSData(rxBuffer, RX3_BUFFER_SIZE);
//						dataReceived = 0;
//					}
//					if (HAL_GetTick() - GPSTick >= 1000) {
//						GPSTick = HAL_GetTick();
//						//printf("CNT : %d\r\n", checkGPSCnt);
//						if (checkGPSCnt >= 2) {
//							HAL_GPIO_WritePin(GPIOB, GPIO_PIN_8, 0); //BUZZER
//							if (IOMode == 0) {
//								LCD_Write_Arrive(data[nowIdx]);
//								HAL_GPIO_WritePin(GPIOB, GPIO_PIN_8, 1); //BUZZER
//								ArriveFlag = 1;
//								helpBuzzer = 0;
//							}
//
//							HAL_GPIO_TogglePin(GPIOB, GPIO_PIN_13); //Stop LED
//							IOMode = 1;
//						} else {
//							HAL_GPIO_WritePin(GPIOB, GPIO_PIN_8, 0); //BUZZER
//							if (IOMode == 1) {
//								nowIdx++;
//								updateLCD();
//								HAL_GPIO_WritePin(GPIOB, GPIO_PIN_8, 1); //BUZZER
//								ArriveFlag = 0;
//							}
//
//							HAL_GPIO_WritePin(GPIOB, GPIO_PIN_13, 0); //Stop LED
//							IOMode = 0;
//						}
//						checkGPSCnt = 0;
//					}

//					if (HAL_GetTick() - GPSFIXTick >= 100) {
//						//printf("%s\r\n", DataBuffer);
//						nmea_parse(&myData, DataBuffer);
//						if (myData.fix == 0) {
//							GPSFIXTick = HAL_GetTick();
//							HAL_GPIO_TogglePin(GPIOB, GPIO_PIN_14); //GPS LED
//							//printf("%d: No fix\r\n", Serialcnt);
//							Serialcnt++;
//						} else {
//							if (NowBusStopFlag == 0) {
//								if (myData.latitude > 0
//										&& myData.longitude > 0) {
//
//									//printf("%f, %f\r\n", myData.latitude, myData.longitude);
//									NowBusStop(myData.latitude,
//											myData.longitude);
//									updateLCD();
//								}
//							}
//							HAL_GPIO_WritePin(GPIOB, GPIO_PIN_14, 1); //GPS LED
////							printf("\r\n%d: Lat: %f %c, Lon: %f %c, Alt: %f m, Satellites: %d HDOP: %f\r\n",
////											Serialcnt, myData.latitude, myData.latSide, myData.longitude, myData.lonSide, myData.altitude, myData.satelliteCount, myData.hdop);
//							CheckGPS(myData.latitude, myData.longitude);
//						}
//					}
					if (HAL_GetTick() - BtnTick >= 2000 && pushingFlag) {
						pushingFlag = 0;
						upDownFlag = (upDownFlag + 1) % 2;
						HAL_GPIO_WritePin(GPIOB, GPIO_PIN_8, 1);
						HAL_Delay(100);
						HAL_GPIO_WritePin(GPIOB, GPIO_PIN_8, 0);
						if(nowIdx == 0){
							while(data[++nowIdx].busTP != '2');
						}
						else{
							nowIdx = 0;
						}
						updateLCD();
						if(data[nowIdx].isPeople == 2){
							helpBuzzer = 0;
						}
						if(data[nowIdx].isPeople == 1){
							for(int i = 0;i<4;i++){
								HAL_GPIO_TogglePin(GPIOB, GPIO_PIN_8);
								HAL_Delay(50);
							}
						}
						if(data[nowIdx].isPeople > 0 ){
							isPeopleFlag = 1;
						}
						else{
							isPeopleFlag = 0;
							HAL_GPIO_WritePin(GPIOA, GPIO_PIN_11, 0);
						}
						if(data[nowIdx+1].isPeople > 0){
							HAL_GPIO_WritePin(GPIOA, GPIO_PIN_12, 1); //LAMP2
						}
						else{
							HAL_GPIO_WritePin(GPIOA, GPIO_PIN_12, 0); //LAMP2
						}
					}
				}
//					if (NowBusStopFlag) {
//						if (HAL_GetTick() - ArriveTick >= 100) {
//							ArriveTick = HAL_GetTick();
//							printf("isPeople : %d\r\n", data[nowIdx].isPeople);
//							if (data[nowIdx].isPeople == 1) {
//								if (ArriveFlag == 1) {
//									HAL_GPIO_TogglePin(GPIOA, GPIO_PIN_11);
//								} else {
//									HAL_GPIO_WritePin(GPIOA, GPIO_PIN_11, 1); //LAMP1
//								}
//							}
//							if (data[nowIdx].isPeople == 2) {
//								if (ArriveFlag == 1) {
//									HAL_GPIO_TogglePin(GPIOA, GPIO_PIN_11);
//									if (helpBuzzer % 2 == 0
//											&& (helpBuzzer + 1) % 5
//											&& helpBuzzer < 11) {
//
//										HAL_GPIO_TogglePin(GPIOB, GPIO_PIN_8);
//									}
//									helpBuzzer++;
//								} else {
//									HAL_GPIO_WritePin(GPIOA, GPIO_PIN_11, 1); //LAMP1
//								}
//							}
//							if (data[nowIdx].isPeople == 0){
//								HAL_GPIO_WritePin(GPIOA, GPIO_PIN_11, 0); //LAMP1
//							}
//						}
//
//						if (data[nowIdx + 1].isPeople >= 1) {
//							HAL_GPIO_WritePin(GPIOA, GPIO_PIN_12, 1); //LAMP2
//						} else {
//							HAL_GPIO_WritePin(GPIOA, GPIO_PIN_12, 0); //LAMP2
//						}
//					}
				}
			}
		}

//		else { //Remote Mode
//			uint8_t data[] = "1,604,1315";
//			uint8_t data3[] = "000033333@";
//			uint8_t uartLoraFlag = 0;
//
//			while (1) {
//				if (UART1_Rx_End) {
//
//					//printf("Re:%s, %d!!!!\r\n", UART1_Rx_Buffer, strlen(UART1_Rx_Buffer));
//					char *token;
//
//					token = strtok(UART1_Rx_Buffer, "!");
//					strncpy(data, token, 10);
//					printf("\r\nRe:%s!!!!!\r\n\r\n", data);
//
//					token = strtok(NULL, "!");
//					strncpy(data3, token, 10);
//					printf("\r\nRe:%s!!!!!\r\n\r\n", data3);
//
//					for (int i = 0; i < 50; i++) {
//						UART1_Rx_Buffer[i] = '\0';
//					}
//					//LoRa_SendData(UART1_Rx_Buffer, strlen((char*)UART1_Rx_Buffer));
//					UART1_Len = 0;
//					UART1_Rx_End = 0;
//					uartLoraFlag = 1;
//					asd = 0;
//				}
//				if (LoRaRxEnd) {
//					printf("LoRa : %s, %d\r\n", LoRaRxData, strlen(LoRaRxData));
//					asd++;
//					for (int i = 0; i < 11; i++) {
//						LoRaRxData[i] = '\0';
//					}
//					LoRaLen = 0;
//					LoRaRxEnd = 0;
//				}
//				if (HAL_GetTick() - LoRaTick >= 3000 && uartLoraFlag == 1) {
//					LoRaTick = HAL_GetTick();
//					if (asd < 2) {
//						if (asd % 2 == 0) {
//							printf("data : %s\r\n", data);
//							LoRa_SendData(data, sizeof(data) - 1);
//							//printf("%s\r\n", data);
//						} else {
//							printf("data3 : %s\r\n", data3);
//							LoRa_SendData(data3, sizeof(data3) - 1);
//							//printf("%s\r\n", data3);
//						}
//					} else {
//						uartLoraFlag = 0;
//					}
//				}
//			}
//		}
//
//		HAL_Delay(100);
    /* USER CODE END WHILE */

	}

void SystemClock_Config(void)
{
  RCC_OscInitTypeDef RCC_OscInitStruct = {0};
  RCC_ClkInitTypeDef RCC_ClkInitStruct = {0};

  /** Initializes the RCC Oscillators according to the specified parameters
  * in the RCC_OscInitTypeDef structure.
  */
  RCC_OscInitStruct.OscillatorType = RCC_OSCILLATORTYPE_HSI;
  RCC_OscInitStruct.HSIState = RCC_HSI_ON;
  RCC_OscInitStruct.HSICalibrationValue = RCC_HSICALIBRATION_DEFAULT;
  RCC_OscInitStruct.PLL.PLLState = RCC_PLL_ON;
  RCC_OscInitStruct.PLL.PLLSource = RCC_PLLSOURCE_HSI_DIV2;
  RCC_OscInitStruct.PLL.PLLMUL = RCC_PLL_MUL4;
  if (HAL_RCC_OscConfig(&RCC_OscInitStruct) != HAL_OK)
  {
    Error_Handler();
  }

  /** Initializes the CPU, AHB and APB buses clocks
  */
  RCC_ClkInitStruct.ClockType = RCC_CLOCKTYPE_HCLK|RCC_CLOCKTYPE_SYSCLK
                              |RCC_CLOCKTYPE_PCLK1|RCC_CLOCKTYPE_PCLK2;
  RCC_ClkInitStruct.SYSCLKSource = RCC_SYSCLKSOURCE_PLLCLK;
  RCC_ClkInitStruct.AHBCLKDivider = RCC_SYSCLK_DIV1;
  RCC_ClkInitStruct.APB1CLKDivider = RCC_HCLK_DIV1;
  RCC_ClkInitStruct.APB2CLKDivider = RCC_HCLK_DIV1;

  if (HAL_RCC_ClockConfig(&RCC_ClkInitStruct, FLASH_LATENCY_0) != HAL_OK)
  {
    Error_Handler();
  }
}

static void MX_I2C1_Init(void)
{

  hi2c1.Instance = I2C1;
  hi2c1.Init.ClockSpeed = 100000;
  hi2c1.Init.DutyCycle = I2C_DUTYCYCLE_2;
  hi2c1.Init.OwnAddress1 = 0;
  hi2c1.Init.AddressingMode = I2C_ADDRESSINGMODE_7BIT;
  hi2c1.Init.DualAddressMode = I2C_DUALADDRESS_DISABLE;
  hi2c1.Init.OwnAddress2 = 0;
  hi2c1.Init.GeneralCallMode = I2C_GENERALCALL_DISABLE;
  hi2c1.Init.NoStretchMode = I2C_NOSTRETCH_DISABLE;
  if (HAL_I2C_Init(&hi2c1) != HAL_OK)
  {
    Error_Handler();
  }

}

static void MX_USART1_UART_Init(void)
{

  huart1.Instance = USART1;
  huart1.Init.BaudRate = 115200;
  huart1.Init.WordLength = UART_WORDLENGTH_8B;
  huart1.Init.StopBits = UART_STOPBITS_1;
  huart1.Init.Parity = UART_PARITY_NONE;
  huart1.Init.Mode = UART_MODE_TX_RX;
  huart1.Init.HwFlowCtl = UART_HWCONTROL_NONE;
  huart1.Init.OverSampling = UART_OVERSAMPLING_16;
  if (HAL_UART_Init(&huart1) != HAL_OK)
  {
    Error_Handler();
  }

}

static void MX_USART2_UART_Init(void)
{

  huart2.Instance = USART2;
  huart2.Init.BaudRate = 9600;
  huart2.Init.WordLength = UART_WORDLENGTH_8B;
  huart2.Init.StopBits = UART_STOPBITS_1;
  huart2.Init.Parity = UART_PARITY_NONE;
  huart2.Init.Mode = UART_MODE_TX_RX;
  huart2.Init.HwFlowCtl = UART_HWCONTROL_NONE;
  huart2.Init.OverSampling = UART_OVERSAMPLING_16;
  if (HAL_UART_Init(&huart2) != HAL_OK)
  {
    Error_Handler();
  }

}

static void MX_USART3_UART_Init(void)
{

  huart3.Instance = USART3;
  huart3.Init.BaudRate = 230400;
  huart3.Init.WordLength = UART_WORDLENGTH_8B;
  huart3.Init.StopBits = UART_STOPBITS_1;
  huart3.Init.Parity = UART_PARITY_NONE;
  huart3.Init.Mode = UART_MODE_TX_RX;
  huart3.Init.HwFlowCtl = UART_HWCONTROL_NONE;
  huart3.Init.OverSampling = UART_OVERSAMPLING_16;
  if (HAL_UART_Init(&huart3) != HAL_OK)
  {
    Error_Handler();
  }

}

static void MX_DMA_Init(void)
{

  /* DMA controller clock enable */
  __HAL_RCC_DMA1_CLK_ENABLE();

  /* DMA interrupt init */
  /* DMA1_Channel3_IRQn interrupt configuration */
  HAL_NVIC_SetPriority(DMA1_Channel3_IRQn, 0, 0);
  HAL_NVIC_EnableIRQ(DMA1_Channel3_IRQn);
  /* DMA1_Channel5_IRQn interrupt configuration */
  HAL_NVIC_SetPriority(DMA1_Channel5_IRQn, 0, 0);
  HAL_NVIC_EnableIRQ(DMA1_Channel5_IRQn);

}

static void MX_GPIO_Init(void)
{
  GPIO_InitTypeDef GPIO_InitStruct = {0};

  /* GPIO Ports Clock Enable */
  __HAL_RCC_GPIOA_CLK_ENABLE();
  __HAL_RCC_GPIOB_CLK_ENABLE();

  /*Configure GPIO pin Output Level */
  HAL_GPIO_WritePin(GPIOA, LORA_M0_Pin|LORA_M1_Pin|LAMP2_Pin|LAMP1_Pin, GPIO_PIN_RESET);

  /*Configure GPIO pin Output Level */
  HAL_GPIO_WritePin(GPIOB, STOP_LED_Pin|GPS_LED_Pin|BUZZER_Pin|DBG_LED_Pin, GPIO_PIN_RESET);

  /*Configure GPIO pins : LORA_M0_Pin LORA_M1_Pin LAMP2_Pin LAMP1_Pin */
  GPIO_InitStruct.Pin = LORA_M0_Pin|LORA_M1_Pin|LAMP2_Pin|LAMP1_Pin;
  GPIO_InitStruct.Mode = GPIO_MODE_OUTPUT_PP;
  GPIO_InitStruct.Pull = GPIO_NOPULL;
  GPIO_InitStruct.Speed = GPIO_SPEED_FREQ_LOW;
  HAL_GPIO_Init(GPIOA, &GPIO_InitStruct);

  /*Configure GPIO pin : LORA_AUX_Pin */
  GPIO_InitStruct.Pin = LORA_AUX_Pin;
  GPIO_InitStruct.Mode = GPIO_MODE_INPUT;
  GPIO_InitStruct.Pull = GPIO_NOPULL;
  HAL_GPIO_Init(LORA_AUX_GPIO_Port, &GPIO_InitStruct);

  /*Configure GPIO pins : BTN1_Pin BTN2_Pin BTN3_Pin */
  GPIO_InitStruct.Pin = BTN1_Pin|BTN2_Pin|BTN3_Pin;
  GPIO_InitStruct.Mode = GPIO_MODE_IT_RISING_FALLING;
  GPIO_InitStruct.Pull = GPIO_NOPULL;
  HAL_GPIO_Init(GPIOA, &GPIO_InitStruct);

  /*Configure GPIO pins : BTN4_Pin BTN5_Pin */
  GPIO_InitStruct.Pin = BTN4_Pin|BTN5_Pin;
  GPIO_InitStruct.Mode = GPIO_MODE_IT_RISING_FALLING;
  GPIO_InitStruct.Pull = GPIO_NOPULL;
  HAL_GPIO_Init(GPIOB, &GPIO_InitStruct);

  /*Configure GPIO pins : STOP_LED_Pin GPS_LED_Pin BUZZER_Pin DBG_LED_Pin */
  GPIO_InitStruct.Pin = STOP_LED_Pin|GPS_LED_Pin|BUZZER_Pin|DBG_LED_Pin;
  GPIO_InitStruct.Mode = GPIO_MODE_OUTPUT_PP;
  GPIO_InitStruct.Pull = GPIO_NOPULL;
  GPIO_InitStruct.Speed = GPIO_SPEED_FREQ_LOW;
  HAL_GPIO_Init(GPIOB, &GPIO_InitStruct);

  /*Configure GPIO pin : MODE_SLCT_Pin */
  GPIO_InitStruct.Pin = MODE_SLCT_Pin;
  GPIO_InitStruct.Mode = GPIO_MODE_INPUT;
  GPIO_InitStruct.Pull = GPIO_PULLUP;
  HAL_GPIO_Init(MODE_SLCT_GPIO_Port, &GPIO_InitStruct);

  /* EXTI interrupt init*/
  HAL_NVIC_SetPriority(EXTI0_IRQn, 0, 0);
  HAL_NVIC_EnableIRQ(EXTI0_IRQn);

  HAL_NVIC_SetPriority(EXTI1_IRQn, 0, 0);
  HAL_NVIC_EnableIRQ(EXTI1_IRQn);

  HAL_NVIC_SetPriority(EXTI9_5_IRQn, 0, 0);
  HAL_NVIC_EnableIRQ(EXTI9_5_IRQn);

}

/* USER CODE BEGIN 4 */

void HAL_GPIO_EXTI_Callback(uint16_t GPIO_Pin) {
	if (GPIO_Pin == GPIO_PIN_5) {
		if (!modeFlag) { //LOCAL
			if (!HAL_GPIO_ReadPin(GPIOA, GPIO_PIN_5)) {
				BtnTick = HAL_GetTick();
				pushingFlag = 1;
			} else {
				pushingFlag = 0;
			}
		} else {
			if (!HAL_GPIO_ReadPin(GPIOA, GPIO_PIN_5)) {
				BtnTick = HAL_GetTick();
			} else {
				if (HAL_GetTick() - BtnTick < 2000) {
					printf("0x020,10x03\r\n");
				} else if (HAL_GetTick() - BtnTick < 5000) {
					printf("0x020,20x03\r\n");
				} else {
					printf("0x020,30x03\r\n");
				}
			}
		}
	} else if (GPIO_Pin == GPIO_PIN_6) {
		if (!HAL_GPIO_ReadPin(GPIOA, GPIO_PIN_6)) {
			BtnTick = HAL_GetTick();
		} else {
			if (HAL_GetTick() - BtnTick < 2000) {
				printf("0x021,10x03\r\n");
			} else if (HAL_GetTick() - BtnTick < 5000) {
				printf("0x021,20x03\r\n");
			} else {
				printf("0x021,30x03\r\n");
			}
		}
	} else if (GPIO_Pin == GPIO_PIN_7) {
		if (!HAL_GPIO_ReadPin(GPIOA, GPIO_PIN_7)) {
			BtnTick = HAL_GetTick();
		} else {
			if (HAL_GetTick() - BtnTick < 2000) {
				printf("0x022,10x03\r\n");
			} else if (HAL_GetTick() - BtnTick < 5000) {
				printf("0x022,20x03\r\n");
			} else {
				printf("0x022,30x03\r\n");
			}
		}
	} else if (GPIO_Pin == GPIO_PIN_0) {
		if (!HAL_GPIO_ReadPin(GPIOB, GPIO_PIN_0)) {
			BtnTick = HAL_GetTick();
		} else {
			if (HAL_GetTick() - BtnTick < 2000) {
				printf("0x023,10x03\r\n");
			} else if (HAL_GetTick() - BtnTick < 5000) {
				printf("0x023,20x03\r\n");
			} else {
				printf("0x023,30x03\r\n");
			}
		}
	} else if (GPIO_Pin == GPIO_PIN_1) {
		if (!HAL_GPIO_ReadPin(GPIOB, GPIO_PIN_1)) {
			BtnTick = HAL_GetTick();
		} else {
			if (HAL_GetTick() - BtnTick < 2000) {
				printf("0x024,10x03\r\n");
			} else if (HAL_GetTick() - BtnTick < 5000) {
				printf("0x024,20x03\r\n");
			} else {
				printf("0x024,30x03\r\n");
			}
		}
	}
}

void HAL_UART_RxCpltCallback(UART_HandleTypeDef *huart) {
	static uint8_t UART1_Chk = 0;
	static uint16_t index = 0;
	static uint8_t LoRaChk = 0;
	static uint16_t LoRaIdx = 0;
	if (huart->Instance == USART1) {
		UART1_Rx_End = 1;
//		switch (UART1_Chk) {
//		case 0:
//			if (UART1_Rx_Data[0] == 0x02) {
//				// Rx_Buffer[USART1_len]=UART1_Rx_Data[0];
//				// USART1_len++;
//				UART1_Chk = 1;
//			} else
//				UART1_Chk = 0;
//			break;
//		case 1:
//			if (UART1_Rx_Data[0] == 0x03) {
//				UART1_Rx_End = 1;
//				UART1_Chk = 0;
//			}
//			else {
//				UART1_Rx_Buffer[UART1_Len] = UART1_Rx_Data[0];
//				UART1_Len++;
//			}
//			break;
//		default:
//			UART1_Chk = 0;
//			break;
//		}
//		HAL_UART_Transmit(&huart1, UART1_Rx_Data, 1, 10);
//		HAL_UART_Receive_IT(&huart1, UART1_Rx_Data, 1);
	} else if (huart->Instance == USART2) {
		LoRaRxEnd = 1;
		HAL_UART_Receive_IT(&huart2, LoRaRxData, 10);

	} else if (huart->Instance == USART3) {
		dataReceived = 1;
	}
}

/* USER CODE END 4 */

void Error_Handler(void)
{
	__disable_irq();
	while (1) {
	}
}
